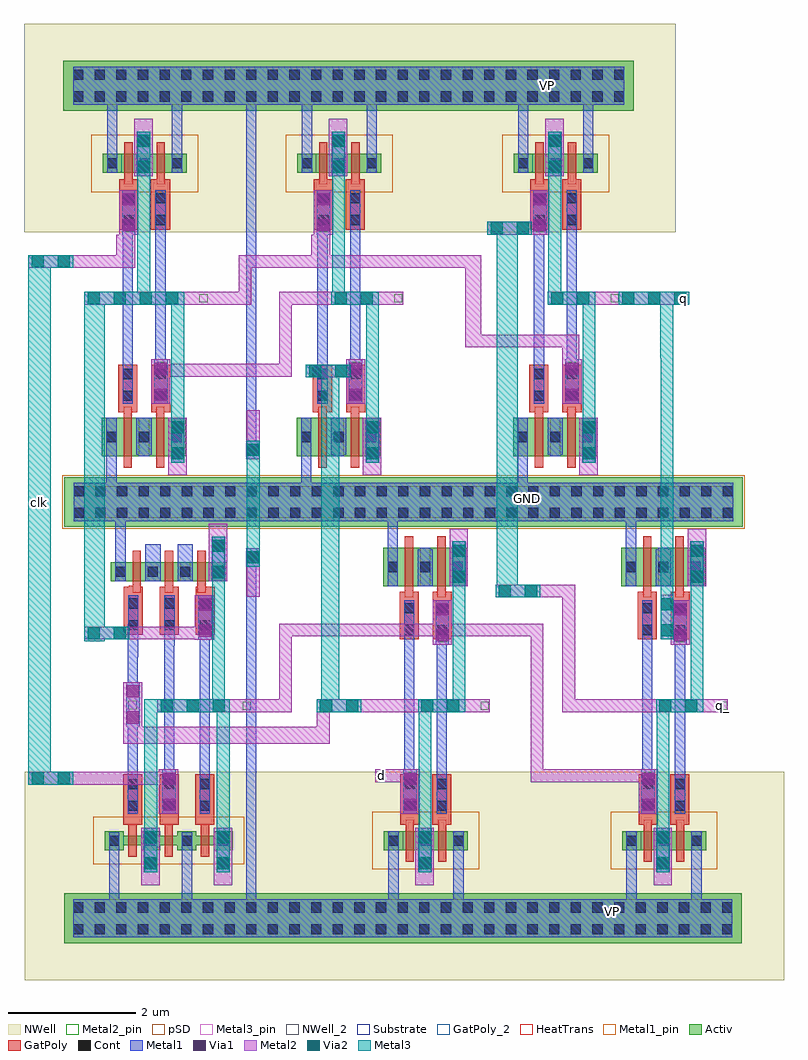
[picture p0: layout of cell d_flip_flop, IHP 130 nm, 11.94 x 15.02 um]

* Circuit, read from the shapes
.subckt d_flip_flop GND VP clk d q q_
XM1 n1 clk GND GND sg13_lv_nmos w=0.6u l=0.13u
XM2 n2 NAND_2in_x2_1/a GND GND sg13_lv_nmos w=0.3u l=0.13u
XM3 NAND_2in_x2_17/a NAND_2in_x2_2/a n1 GND sg13_lv_nmos w=0.6u l=0.13u
XM4 n3 clk n2 GND sg13_lv_nmos w=0.3u l=0.13u
XM5 NAND_2in_x2_18/a NAND_2in_x2_17/a n3 GND sg13_lv_nmos w=0.3u l=0.13u
XM6 n4 NAND_2in_x2_17/a GND GND sg13_lv_nmos w=0.6u l=0.13u
XM7 NAND_2in_x2_2/a NAND_2in_x2_1/a n4 GND sg13_lv_nmos w=0.6u l=0.13u
XM8 n5 d GND GND sg13_lv_nmos w=0.6u l=0.13u
XM9 NAND_2in_x2_1/a NAND_2in_x2_18/a n5 GND sg13_lv_nmos w=0.6u l=0.13u
XM10 n6 q_ GND GND sg13_lv_nmos w=0.6u l=0.13u
XM11 q NAND_2in_x2_17/a n6 GND sg13_lv_nmos w=0.6u l=0.13u
XM12 n7 NAND_2in_x2_18/a GND GND sg13_lv_nmos w=0.6u l=0.13u
XM13 q_ q n7 GND sg13_lv_nmos w=0.6u l=0.13u
XM14 NAND_2in_x2_17/a clk VP VP sg13_lv_pmos w=0.3u l=0.13u
XM15 NAND_2in_x2_18/a NAND_2in_x2_1/a VP VP sg13_lv_pmos w=0.15u l=0.13u
XM16 VP NAND_2in_x2_2/a NAND_2in_x2_17/a VP sg13_lv_pmos w=0.3u l=0.13u
XM17 VP clk NAND_2in_x2_18/a VP sg13_lv_pmos w=0.15u l=0.13u
XM18 NAND_2in_x2_18/a NAND_2in_x2_17/a VP VP sg13_lv_pmos w=0.15u l=0.13u
XM19 NAND_2in_x2_2/a NAND_2in_x2_17/a VP VP sg13_lv_pmos w=0.3u l=0.13u
XM20 VP NAND_2in_x2_1/a NAND_2in_x2_2/a VP sg13_lv_pmos w=0.3u l=0.13u
XM21 NAND_2in_x2_1/a d VP VP sg13_lv_pmos w=0.3u l=0.13u
XM22 VP NAND_2in_x2_18/a NAND_2in_x2_1/a VP sg13_lv_pmos w=0.3u l=0.13u
XM23 q q_ VP VP sg13_lv_pmos w=0.3u l=0.13u
XM24 VP NAND_2in_x2_17/a q VP sg13_lv_pmos w=0.3u l=0.13u
XM25 q_ NAND_2in_x2_18/a VP VP sg13_lv_pmos w=0.3u l=0.13u
XM26 VP q q_ VP sg13_lv_pmos w=0.3u l=0.13u
.ends

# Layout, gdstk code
from math import pi, radians
import gdstk
lib = gdstk.Library(unit=1e-6, precision=1e-09)
def R(c, l, rs):  # rectangles x0, y0, x1, y1
    for r in rs: c.add(gdstk.rectangle(r[:2], r[2:], *l))
def A(c, l, x, y, w, h, nx, ny, dx, dy):  # array of equal rectangles
    R(c, l, [(x+i*dx, y+j*dy, x+i*dx+w, y+j*dy+h) for i in range(nx) for j in range(ny)])
Activ = (1, 0)
GatPoly = (5, 0)
GatPoly_2 = (5, 2)
Cont = (6, 0)
Metal1 = (8, 0)
Metal1_pin = (8, 2)
Metal2 = (10, 0)
Metal2_pin = (10, 2)
pSD = (14, 0)
Via1 = (19, 0)
Via2 = (29, 0)
Metal3 = (30, 0)
Metal3_pin = (30, 2)
NWell = (31, 0)
NWell_2 = (31, 2)
Substrate = (40, 0)
HeatTrans = (51, 0)

via_16_1 = lib.new_cell('Via$16$1')
R(via_16_1, Metal1, [(-0.105,-0.35,0.105,0.35)])
R(via_16_1, Metal2, [(-0.1,-0.35,0.1,0.35)])
R(via_16_1, Via1, [(-0.095,-0.3,0.095,-0.11), (-0.095,0.11,0.095,0.3)])

via_1_2 = lib.new_cell('Via$1$2')
R(via_1_2, Metal2, [(-0.1,-0.555,0.1,0.555)])
A(via_1_2, Via2, -0.095, -0.505, 0.19, 0.19, 1, 3, 0, 0.41)
R(via_1_2, Metal3, [(-0.1,-0.555,0.1,0.555)])

nmos_4 = lib.new_cell('nmos$4')
A(nmos_4, Activ, 0, 0, 0.3, 0.3, 4, 1, 0.51, 0)
R(nmos_4, Activ, [(0,0,1.83,0.3)])
A(nmos_4, GatPoly, 0.34, -0.18, 0.13, 0.66, 3, 1, 0.51, 0)
R(nmos_4, GatPoly_2, [(0.34,-0.18,0.47,0.48)])
A(nmos_4, Cont, 0.07, 0.07, 0.16, 0.16, 4, 1, 0.51, 0)
A(nmos_4, Metal1, 0.07, 0, 0.16, 0.3, 4, 1, 0.51, 0)
R(nmos_4, Metal1_pin, [(0.07,0,0.23,0.3), (0.58,0,0.74,0.3)])
A(nmos_4, HeatTrans, 0.34, -0.18, 0.13, 0.66, 3, 1, 0.51, 0)
nmos_4.add(gdstk.Label('nmos', (0.405,0.15), layer=63, texttype=0))
nmos_4.add(gdstk.Label('nmos', (0.405,0.15), layer=51, texttype=0))
nmos_4.add(gdstk.Label('nmos', (0.915,0.15), layer=51, texttype=0))
nmos_4.add(gdstk.Label('nmos', (1.425,0.15), layer=51, texttype=0))

ntap1_8 = lib.new_cell('ntap1$8')
R(ntap1_8, Activ, [(0,0,3.5,0.78)])
A(ntap1_8, Cont, 0.14, 0.14, 0.16, 0.16, 10, 2, 0.34, 0.34)
R(ntap1_8, Metal1, [(0.14,0.09,3.36,0.69)])
R(ntap1_8, Metal1_pin, [(0.14,0.09,3.36,0.69), (0.14,0.14,3.36,0.64)])
R(ntap1_8, NWell, [(-0.24,-0.24,3.74,1.02), (0,0,3.5,0.78)])
R(ntap1_8, NWell_2, [(0,0,3.5,0.78)])
ntap1_8.add(gdstk.Label('well', (1.75,0.01), layer=63, texttype=0))
ntap1_8.add(gdstk.Label('well', (1.75,0.01), layer=31, texttype=0))

ptap1_17 = lib.new_cell('ptap1$17')
R(ptap1_17, Activ, [(0,0,3.5,0.78)])
A(ptap1_17, Cont, 0.14, 0.14, 0.16, 0.16, 10, 2, 0.34, 0.34)
R(ptap1_17, Metal1, [(0.14,0.09,3.36,0.69), (0.14,0.14,3.36,0.64)])
R(ptap1_17, Metal1_pin, [(0.14,0.14,3.36,0.64)])
R(ptap1_17, pSD, [(-0.03,-0.03,3.53,0.81)])
R(ptap1_17, Substrate, [(0,0,3.5,0.78)])
ptap1_17.add(gdstk.Label('sub!', (1.75,0.01), layer=63, texttype=0))
ptap1_17.add(gdstk.Label('sub!', (1.75,0.01), layer=40, texttype=0))

via_2_2 = lib.new_cell('Via$2$2')
R(via_2_2, Metal2, [(-0.1,-0.35,0.1,0.35)])
R(via_2_2, Via2, [(-0.095,-0.3,0.095,-0.11), (-0.095,0.11,0.095,0.3)])
R(via_2_2, Metal3, [(-0.1,-0.35,0.1,0.35)])

via_3_1 = lib.new_cell('Via$3$1')
R(via_3_1, GatPoly, [(-0.32,-0.15,0.32,0.15)])
R(via_3_1, Cont, [(-0.25,-0.08,-0.09,0.08), (0.09,-0.08,0.25,0.08)])
R(via_3_1, Metal1, [(-0.3,-0.08,0.3,0.08)])

pmos_4 = lib.new_cell('pmos$4')
A(pmos_4, Activ, 0, 0, 0.3, 0.3, 4, 1, 0.57, 0)
R(pmos_4, Activ, [(0,0.075,2.01,0.225)])
A(pmos_4, GatPoly, 0.37, -0.105, 0.13, 0.51, 3, 1, 0.57, 0)
R(pmos_4, GatPoly, [(0.37,-0.105,0.5,0.405)])
A(pmos_4, Cont, 0.07, 0.07, 0.16, 0.16, 4, 1, 0.57, 0)
A(pmos_4, Metal1, 0.64, 0.02, 0.16, 0.26, 3, 1, 0.57, 0)
R(pmos_4, Metal1, [(0.07,0.02,0.23,0.28), (0.07,0.02,0.23,0.28), (0.64,0.02,0.8,0.28)])
R(pmos_4, pSD, [(-0.18,-0.225,2.19,0.525)])
R(pmos_4, NWell, [(-0.31,-0.31,2.32,0.61)])
R(pmos_4, Substrate, [(1.71,0,2.01,0.3)])
A(pmos_4, HeatTrans, 0.37, -0.105, 0.13, 0.51, 3, 1, 0.57, 0)
pmos_4.add(gdstk.Label('pmos', (0.435,0.15), layer=63, texttype=0))
pmos_4.add(gdstk.Label('pmos', (0.435,0.15), layer=51, texttype=0))
pmos_4.add(gdstk.Label('pmos', (1.005,0.15), layer=51, texttype=0))
pmos_4.add(gdstk.Label('pmos', (1.575,0.15), layer=51, texttype=0))

nand_3in = lib.new_cell('NAND_3in')
R(nand_3in, GatPoly, [(0.115,-3.025,0.245,-2.915), (0.685,-3.025,0.815,-2.915), (0.035,-3.005,0.335,-2.895), (0.605,-3.005,0.905,-2.895), (1.165,-3.005,1.465,-2.895), (0.03,0.58,0.33,0.73), (0.6,0.58,0.9,0.73), (1.16,0.58,1.46,0.73), (0.68,0.68,0.81,0.77), (1.25,0.68,1.38,0.77)])
R(nand_3in, Metal1, [(-0.095,-4.15,0.065,-3.37), (0.375,-3.675,0.615,-3.415), (0.885,-3.675,1.125,-3.415), (0.375,-3.435,0.615,-3.095), (0.885,-3.435,1.125,-3.095), (0.67,-2.44,0.835,-2.09), (0.1,-2.42,0.265,-1.91), (0.67,-2.21,0.83,-1.27), (1.23,-2.21,1.39,-1.27), (0.1,-1.91,0.26,-0.56), (0.67,-1.31,0.83,-0.37), (1.23,-1.31,1.39,-0.37), (0.1,-0.62,0.26,-0.04), (1.23,-0.53,1.39,0), (0.67,-0.37,0.83,-0.11), (0.95,1,1.11,1.2), (-0.19,1.01,-0.03,1.15), (-0.19,1.115,-0.03,1.99), (0.95,1.115,1.11,1.94)])
R(nand_3in, Metal1_pin, [(0.44,-4.405,0.57,-4.275), (0.74,2.15,0.87,2.28)])
R(nand_3in, Metal2, [(1.375,-3.995,1.665,-3.795), (1.375,-3.795,1.665,-3.095), (1.155,-2.875,1.455,-2.175), (0.03,-1.51,0.33,-0.81), (1.62,-1.24,2.05,-1.04), (0.59,-0.14,0.89,0.56), (0.31,0.78,0.6,0.98), (1.45,0.78,1.74,0.98), (0.31,0.98,0.6,1.68), (1.45,0.98,1.74,1.68)])
R(nand_3in, Metal2_pin, [(1.255,-2.385,1.385,-2.255), (0.11,-1.215,0.24,-1.085), (1.905,-1.205,2.035,-1.075), (0.69,-0.07,0.82,0.06)])
R(nand_3in, Metal3, [(1.425,-3.105,1.625,-2.905), (1.425,-2.905,1.625,-2.5), (1.425,-2.5,1.625,-1.15), (0.36,-1.24,0.56,-0.97), (0.38,-1.24,0.565,-1.04), (1.66,-1.24,1.7,-1.09), (1.5,-1.09,1.7,0.17), (0.36,-0.97,0.56,0.26), (1.5,-0.03,1.7,0.62), (0.36,0.08,0.56,0.78), (1.5,0.62,1.7,0.72), (1.5,0.71,1.7,0.87)])
R(nand_3in, NWell, [(-1.52,-0.1,-0.85,3.17), (-0.85,-0.1,2.93,3.17)])
nand_3in.add(gdstk.Reference(via_16_1, (1.525,-3.445), rotation=pi))
nand_3in.add(gdstk.Reference(via_16_1, (1.315,-2.525), rotation=pi))
nand_3in.add(gdstk.Reference(via_16_1, (0.18,-1.16), rotation=pi))
nand_3in.add(gdstk.Reference(via_16_1, (0.75,0.21), rotation=pi))
nand_3in.add(gdstk.Reference(via_16_1, (0.46,1.13), rotation=pi))
nand_3in.add(gdstk.Reference(via_16_1, (1.6,1.13), rotation=pi))
nand_3in.add(gdstk.Reference(via_1_2, (1.12,-1.14), rotation=3*pi/2))
nand_3in.add(gdstk.Reference(nmos_4, (1.665,-3.095), rotation=pi))
nand_3in.add(gdstk.Reference(ntap1_8, (-0.9,1.81)))
nand_3in.add(gdstk.Reference(ptap1_17, (-0.89,-4.73)))
nand_3in.add(gdstk.Reference(via_2_2, (1.525,-3.445), rotation=pi))
nand_3in.add(gdstk.Reference(via_2_2, (0.46,1.13), rotation=pi))
nand_3in.add(gdstk.Reference(via_2_2, (1.6,1.13), rotation=pi))
nand_3in.add(gdstk.Reference(via_3_1, (0.185,-2.575), rotation=3*pi/2))
nand_3in.add(gdstk.Reference(via_3_1, (0.755,-2.575), rotation=3*pi/2))
nand_3in.add(gdstk.Reference(via_3_1, (1.315,-2.575), rotation=3*pi/2))
nand_3in.add(gdstk.Reference(via_3_1, (0.18,0.26), rotation=3*pi/2))
nand_3in.add(gdstk.Reference(via_3_1, (0.75,0.26), rotation=3*pi/2))
nand_3in.add(gdstk.Reference(via_3_1, (1.31,0.26), rotation=3*pi/2))
nand_3in.add(gdstk.Reference(pmos_4, (1.75,1.13), rotation=pi))
nand_3in.add(gdstk.Label('VP', (0.8,2.21), layer=8, texttype=25))
nand_3in.add(gdstk.Label('GND', (0.505,-4.335), layer=8, texttype=25))
nand_3in.add(gdstk.Label('y', (1.97,-1.14), layer=10, texttype=25))
nand_3in.add(gdstk.Label('b', (0.76,0.02), layer=10, texttype=25))
nand_3in.add(gdstk.Label('c', (0.17,-1.15), layer=10, texttype=25))
nand_3in.add(gdstk.Label('a', (1.315,-2.325), layer=10, texttype=25))

ntap1_7 = lib.new_cell('ntap1$7')
R(ntap1_7, Activ, [(0,0,2.5,0.78)])
A(ntap1_7, Cont, 0.15, 0.14, 0.16, 0.16, 7, 2, 0.34, 0.34)
R(ntap1_7, Metal1, [(0.15,0.09,2.35,0.69)])
R(ntap1_7, Metal1_pin, [(0.15,0.09,2.35,0.69), (0.15,0.14,2.35,0.64)])
R(ntap1_7, NWell, [(-0.24,-0.24,2.74,1.02), (0,0,2.5,0.78)])
R(ntap1_7, NWell_2, [(0,0,2.5,0.78)])
ntap1_7.add(gdstk.Label('well', (1.25,0.01), layer=63, texttype=0))
ntap1_7.add(gdstk.Label('well', (1.25,0.01), layer=31, texttype=0))

ptap1_4 = lib.new_cell('ptap1$4')
R(ptap1_4, Activ, [(0,0,2.5,0.78)])
A(ptap1_4, Cont, 0.15, 0.14, 0.16, 0.16, 7, 2, 0.34, 0.34)
R(ptap1_4, Metal1, [(0.15,0.09,2.35,0.69), (0.15,0.14,2.35,0.64)])
R(ptap1_4, Metal1_pin, [(0.15,0.14,2.35,0.64)])
R(ptap1_4, pSD, [(-0.03,-0.03,2.53,0.81)])
R(ptap1_4, Substrate, [(0,0,2.5,0.78)])
ptap1_4.add(gdstk.Label('sub!', (1.25,0.01), layer=63, texttype=0))
ptap1_4.add(gdstk.Label('sub!', (1.25,0.01), layer=40, texttype=0))

via_15_1 = lib.new_cell('Via$15$1')
R(via_15_1, Metal2, [(-0.1,-0.35,0.1,0.35)])
R(via_15_1, Via2, [(-0.095,-0.3,0.095,-0.11), (-0.095,0.11,0.095,0.3)])
R(via_15_1, Metal3, [(-0.1,-0.35,0.1,0.35)])

via_1_1 = lib.new_cell('Via$1$1')
R(via_1_1, Metal1, [(-0.105,-0.35,0.105,0.35)])
R(via_1_1, Metal2, [(-0.1,-0.35,0.1,0.35)])
R(via_1_1, Via1, [(-0.095,-0.3,0.095,-0.11), (-0.095,0.11,0.095,0.3)])

via_2_1 = lib.new_cell('Via$2$1')
R(via_2_1, GatPoly, [(-0.32,-0.15,0.32,0.15)])
R(via_2_1, Cont, [(-0.25,-0.08,-0.09,0.08), (0.09,-0.08,0.25,0.08)])
R(via_2_1, Metal1, [(-0.3,-0.08,0.3,0.08)])

pmos_2_1 = lib.new_cell('pmos$2$1')
A(pmos_2_1, Activ, 0, 0, 0.3, 0.3, 3, 1, 0.51, 0)
R(pmos_2_1, Activ, [(0,0,1.32,0.3)])
R(pmos_2_1, GatPoly, [(0.34,-0.18,0.47,0.48), (0.34,-0.18,0.47,0.48), (0.85,-0.18,0.98,0.48)])
A(pmos_2_1, Cont, 0.07, 0.07, 0.16, 0.16, 3, 1, 0.51, 0)
R(pmos_2_1, Metal1, [(0.07,0,0.23,0.3), (0.07,0,0.23,0.3), (0.58,0,0.74,0.3), (0.58,0,0.74,0.3), (1.09,0,1.25,0.3)])
R(pmos_2_1, pSD, [(-0.18,-0.3,1.5,0.6)])
R(pmos_2_1, NWell, [(-0.31,-0.31,1.63,0.61)])
R(pmos_2_1, Substrate, [(1.02,0,1.32,0.3)])
R(pmos_2_1, HeatTrans, [(0.34,-0.18,0.47,0.48), (0.85,-0.18,0.98,0.48)])
pmos_2_1.add(gdstk.Label('pmos', (0.405,0.15), layer=63, texttype=0))
pmos_2_1.add(gdstk.Label('pmos', (0.405,0.15), layer=51, texttype=0))
pmos_2_1.add(gdstk.Label('pmos', (0.915,0.15), layer=51, texttype=0))

nmos_2_1 = lib.new_cell('nmos$2$1')
A(nmos_2_1, Activ, 0, 0, 0.3, 0.3, 3, 1, 0.51, 0)
R(nmos_2_1, Activ, [(0,0,1.32,0.6)])
R(nmos_2_1, GatPoly, [(0.34,-0.18,0.47,0.78), (0.85,-0.18,0.98,0.78)])
R(nmos_2_1, GatPoly_2, [(0.34,-0.18,0.47,0.78)])
A(nmos_2_1, Cont, 0.07, 0.22, 0.16, 0.16, 3, 1, 0.51, 0)
A(nmos_2_1, Metal1, 0.07, 0, 0.16, 0.6, 3, 1, 0.51, 0)
R(nmos_2_1, Metal1_pin, [(0.07,0,0.23,0.6), (0.58,0,0.74,0.6)])
R(nmos_2_1, HeatTrans, [(0.34,-0.18,0.47,0.78), (0.85,-0.18,0.98,0.78)])
nmos_2_1.add(gdstk.Label('nmos', (0.405,0.3), layer=63, texttype=0))
nmos_2_1.add(gdstk.Label('nmos', (0.405,0.3), layer=51, texttype=0))
nmos_2_1.add(gdstk.Label('nmos', (0.915,0.3), layer=51, texttype=0))

nand_2in_x2 = lib.new_cell('NAND_2in_x2')
R(nand_2in_x2, GatPoly, [(0.63,-2.93,0.93,-2.82), (1.15,-2.93,1.45,-2.82), (0.645,0.58,0.945,0.73), (1.145,0.58,1.445,0.73), (0.725,0.68,0.855,0.77)])
R(nand_2in_x2, Metal1, [(0.445,-4.32,0.605,-3.295), (0.915,-3.6,1.155,-3.34), (0.915,-3.36,1.155,-3.02), (0.7,-2.68,0.86,0.26), (1.215,-2.21,1.375,-1.27), (1.215,-1.31,1.375,-0.37), (1.215,-0.37,1.375,-0.01), (0.455,1.01,0.615,1.15), (0.455,1.115,0.615,1.99), (1.475,1.115,1.635,1.94)])
R(nand_2in_x2, Metal1_pin, [(0.44,-4.32,0.57,-4.19), (0.4,2.15,0.53,2.28)])
R(nand_2in_x2, Metal2, [(1.415,-3.92,1.705,-3.72), (1.415,-3.72,1.705,-3.02), (1.15,-2.8,1.45,-2.1), (1.62,-1.24,2.05,-1.04), (0.645,-0.14,0.945,0.56), (0.88,0.78,1.17,0.98), (0.88,0.98,1.17,1.68)])
R(nand_2in_x2, Metal2_pin, [(1.24,-2.27,1.37,-2.14), (1.905,-1.205,2.035,-1.075), (0.735,-0.1,0.865,0.03)])
R(nand_2in_x2, Metal3, [(1.465,-3.03,1.665,-2.83), (1.465,-2.905,1.665,-1.045), (0.93,-1.09,1.13,0.17), (0.93,0.1,1.13,0.62), (0.93,0.62,1.13,0.72), (0.93,0.71,1.13,0.87)])
R(nand_2in_x2, NWell, [(-0.85,-0.1,2.93,3.17)])
nand_2in_x2.add(gdstk.Reference(ntap1_7, (-0.23,1.81)))
nand_2in_x2.add(gdstk.Reference(ptap1_4, (-0.22,-4.73)))
nand_2in_x2.add(gdstk.Reference(via_15_1, (1.27,-1.14), rotation=3*pi/2))
nand_2in_x2.add(gdstk.Reference(via_1_1, (1.565,-3.37), rotation=pi))
nand_2in_x2.add(gdstk.Reference(via_1_1, (1.3,-2.45), rotation=pi))
nand_2in_x2.add(gdstk.Reference(via_1_1, (0.795,0.21), rotation=pi))
nand_2in_x2.add(gdstk.Reference(via_1_1, (1.03,1.13), rotation=pi))
nand_2in_x2.add(gdstk.Reference(via_2_1, (1.3,-2.5), rotation=3*pi/2))
nand_2in_x2.add(gdstk.Reference(via_2_1, (0.795,0.26), rotation=3*pi/2))
nand_2in_x2.add(gdstk.Reference(via_2_1, (1.295,0.26), rotation=3*pi/2))
nand_2in_x2.add(gdstk.Reference(via_15_1, (1.565,-3.37), rotation=pi))
nand_2in_x2.add(gdstk.Reference(via_15_1, (1.03,1.13), rotation=pi))
nand_2in_x2.add(gdstk.Reference(pmos_2_1, (1.705,1.13), rotation=pi))
nand_2in_x2.add(gdstk.Reference(via_2_1, (0.78,-2.5), rotation=3*pi/2))
nand_2in_x2.add(gdstk.Reference(nmos_2_1, (1.695,-3.02), rotation=pi))
nand_2in_x2.add(gdstk.Label('GND', (0.505,-4.25), layer=8, texttype=25))
nand_2in_x2.add(gdstk.Label('VP', (0.46,2.21), layer=8, texttype=25))
nand_2in_x2.add(gdstk.Label('b', (0.795,-0.04), layer=10, texttype=25))
nand_2in_x2.add(gdstk.Label('a', (1.3,-2.21), layer=10, texttype=25))
nand_2in_x2.add(gdstk.Label('y', (1.97,-1.14), layer=10, texttype=25))

ntap1_3_1 = lib.new_cell('ntap1$3$1')
R(ntap1_3_1, Activ, [(0,0,1.8,0.78)])
A(ntap1_3_1, Cont, 0.14, 0.14, 0.16, 0.16, 5, 2, 0.34, 0.34)
R(ntap1_3_1, Metal1, [(0.14,0.09,1.66,0.69)])
R(ntap1_3_1, Metal1_pin, [(0.14,0.09,1.66,0.69), (0.14,0.14,1.66,0.64)])
R(ntap1_3_1, NWell, [(-0.24,-0.24,2.04,1.02), (0,0,1.8,0.78)])
R(ntap1_3_1, NWell_2, [(0,0,1.8,0.78)])
ntap1_3_1.add(gdstk.Label('well', (0.9,0.01), layer=63, texttype=0))
ntap1_3_1.add(gdstk.Label('well', (0.9,0.01), layer=31, texttype=0))

via_21 = lib.new_cell('Via$21')
R(via_21, Metal2, [(-0.35,-0.1,0.35,0.1)])
R(via_21, Via2, [(-0.3,-0.095,-0.11,0.095), (0.11,-0.095,0.3,0.095)])
R(via_21, Metal3, [(-0.35,-0.1,0.35,0.1)])

via_12_1 = lib.new_cell('Via$12$1')
R(via_12_1, Metal2, [(-0.555,-0.1,0.555,0.1)])
A(via_12_1, Via2, -0.505, -0.095, 0.19, 0.19, 3, 1, 0.41, 0)
R(via_12_1, Metal3, [(-0.555,-0.1,0.555,0.1)])

via_8_1 = lib.new_cell('Via$8$1')
R(via_8_1, Metal2, [(-0.1,-0.35,0.1,0.35)])
R(via_8_1, Via2, [(-0.095,-0.3,0.095,-0.11), (-0.095,0.11,0.095,0.3)])
R(via_8_1, Metal3, [(-0.1,-0.35,0.1,0.35)])

via_13_1 = lib.new_cell('Via$13$1')
R(via_13_1, Metal2, [(-0.76,-0.1,0.76,0.1)])
A(via_13_1, Via2, -0.71, -0.095, 0.19, 0.19, 4, 1, 0.41, 0)
R(via_13_1, Metal3, [(-0.76,-0.1,0.76,0.1)])

ntap1_9 = lib.new_cell('ntap1$9')
R(ntap1_9, Activ, [(0,0,2.1,0.78)])
A(ntap1_9, Cont, 0.12, 0.14, 0.16, 0.16, 6, 2, 0.34, 0.34)
R(ntap1_9, Metal1, [(0.12,0.09,1.98,0.69)])
R(ntap1_9, Metal1_pin, [(0.12,0.09,1.98,0.69), (0.12,0.14,1.98,0.64)])
R(ntap1_9, NWell, [(-0.24,-0.24,2.34,1.02), (0,0,2.1,0.78)])
R(ntap1_9, NWell_2, [(0,0,2.1,0.78)])
ntap1_9.add(gdstk.Label('well', (1.05,0.01), layer=63, texttype=0))
ntap1_9.add(gdstk.Label('well', (1.05,0.01), layer=31, texttype=0))

via_17 = lib.new_cell('Via$17')
R(via_17, Metal1, [(-0.145,-0.105,0.145,0.105)])
R(via_17, Metal2, [(-0.145,-0.1,0.145,0.1)])
R(via_17, Via1, [(-0.095,-0.095,0.095,0.095)])

via_19_1 = lib.new_cell('Via$19$1')
R(via_19_1, Metal2, [(-0.145,-0.1,0.145,0.1)])
R(via_19_1, Via2, [(-0.095,-0.095,0.095,0.095)])
R(via_19_1, Metal3, [(-0.145,-0.1,0.145,0.1)])

d_flip_flop = lib.new_cell('d_flip_flop')
R(d_flip_flop, Metal1, [(3.27,-5.01,3.43,0.76), (3.27,2.17,3.43,7.94)])
R(d_flip_flop, Metal1_pin, [(8.955,-5.005,9.085,-4.875), (7.625,1.475,7.755,1.605), (7.945,7.965,8.075,8.095)])
R(d_flip_flop, Metal2, [(-0.15,-2.95,1.29,-2.75), (1.29,-2.95,1.96,-2.75), (5.3,-2.91,5.88,-2.71), (7.74,-2.91,9.52,-2.71), (7.74,-2.81,7.94,-2.31), (1.34,-2.31,1.6,-2.04), (1.36,-2.31,4.58,-2.04), (7.74,-2.31,7.94,-1.39), (4.38,-2.13,4.585,-1.73), (3.36,-1.81,3.94,-1.61), (3.79,-1.81,3.99,-1.39), (4.38,-1.81,4.67,-1.61), (4.67,-1.81,6.02,-1.61), (8.24,-1.81,8.44,-0.89), (8.27,-1.81,9.71,-1.61), (3.79,-1.39,3.99,-0.43), (7.74,-1.39,7.94,-0.49), (8.24,-0.89,8.44,0.19), (1.38,-0.67,2.58,-0.47), (3.79,-0.62,4.07,-0.42), (4.07,-0.62,4.65,-0.42), (4.65,-0.62,6.26,-0.42), (6.16,-0.62,7.94,-0.42), (7.69,-0.01,8.27,0.19), (3.28,0,3.48,0.765), (3.28,2.165,3.48,2.93), (1.79,3.46,3.17,3.66), (3.17,3.46,3.99,3.66), (3.79,3.53,3.99,4.17), (8.24,3.655,8.505,4.12), (6.71,3.92,6.96,5.17), (6.71,3.92,7.72,4.12), (7.72,3.92,8.47,4.12), (3.79,4.17,3.99,4.59), (2.465,4.59,3.35,4.79), (3.79,4.59,4.61,4.79), (9.14,4.59,10.17,4.79), (3.15,4.79,3.35,5.21), (0.13,5.17,0.61,5.37), (0.61,5.17,1.48,5.37), (1.23,5.17,1.53,5.19), (3.15,5.17,3.67,5.37), (3.67,5.17,4.54,5.37), (4.22,5.17,6.21,5.37), (6.21,5.17,6.96,5.37), (1.23,5.19,1.53,5.69), (4.29,5.29,4.59,5.69)])
R(d_flip_flop, Metal2_pin, [(5.325,-2.88,5.455,-2.75), (10.695,-1.775,10.825,-1.645), (10.075,4.625,10.205,4.755)])
R(d_flip_flop, Metal3, [(-0.15,-2.85,0.2,-2.45), (-0.15,-2.45,0.2,4.28), (4.45,-1.81,4.73,2.56), (0.73,-0.7,1.05,3.6), (9.78,-0.47,9.98,3.76), (7.205,0.09,7.54,4.77), (3.28,0.475,3.48,2.455), (4.45,2.56,4.73,3.49), (0.73,3.6,1.05,4.69), (9.775,3.76,9.98,4.69), (-0.15,4.28,0.2,5.23), (7.205,4.77,7.54,5.76)])
R(d_flip_flop, Metal3_pin, [(-0.045,1.42,0.085,1.55)])
d_flip_flop.add(gdstk.Reference(nand_3in, (1.31,-2.85), x_reflection=True))
d_flip_flop.add(gdstk.Reference(nand_2in_x2, (3.69,5.83)))
d_flip_flop.add(gdstk.Reference(nand_2in_x2, (0.63,5.83)))
d_flip_flop.add(gdstk.Reference(ntap1_3_1, (2.45,7.64)))
d_flip_flop.add(gdstk.Reference(ntap1_3_1, (5.51,7.64)))
d_flip_flop.add(gdstk.Reference(via_21, (0.2,-2.85), rotation=pi))
d_flip_flop.add(gdstk.Reference(via_21, (0.2,5.27), rotation=pi))
d_flip_flop.add(gdstk.Reference(via_12_1, (9.68,4.69), rotation=pi))
d_flip_flop.add(gdstk.Reference(via_8_1, (9.88,-0.32), rotation=pi))
d_flip_flop.add(gdstk.Reference(via_21, (1.08,-0.57), rotation=pi))
d_flip_flop.add(gdstk.Reference(via_13_1, (1.49,4.69), rotation=pi))
d_flip_flop.add(gdstk.Reference(via_21, (7.54,0.09), rotation=pi))
d_flip_flop.add(gdstk.Reference(via_21, (7.41,5.79), rotation=pi))
d_flip_flop.add(gdstk.Reference(via_21, (4.73,-1.71), rotation=pi))
d_flip_flop.add(gdstk.Reference(via_21, (4.56,3.55), rotation=pi))
d_flip_flop.add(gdstk.Reference(ntap1_3_1, (3.47,-5.44)))
d_flip_flop.add(gdstk.Reference(ntap1_9, (6.89,-5.44)))
d_flip_flop.add(gdstk.Reference(nand_2in_x2, (7.09,5.83)))
d_flip_flop.add(gdstk.Reference(nand_2in_x2, (5.05,-2.85), x_reflection=True))
d_flip_flop.add(gdstk.Reference(nand_2in_x2, (8.79,-2.85), x_reflection=True))
d_flip_flop.add(gdstk.Reference(via_17, (3.38,0.62), rotation=pi/2))
d_flip_flop.add(gdstk.Reference(via_17, (3.38,2.31), rotation=pi/2))
d_flip_flop.add(gdstk.Reference(via_19_1, (3.38,2.31), rotation=pi/2))
d_flip_flop.add(gdstk.Reference(via_19_1, (3.38,0.62), rotation=pi/2))
d_flip_flop.add(gdstk.Label('GND', (7.69,1.54), layer=8, texttype=25))
d_flip_flop.add(gdstk.Label('VP', (9.02,-4.94), layer=8, texttype=25))
d_flip_flop.add(gdstk.Label('VP', (8.01,8.03), layer=8, texttype=25))
d_flip_flop.add(gdstk.Label('q', (10.14,4.69), layer=10, texttype=25))
d_flip_flop.add(gdstk.Label('d', (5.39,-2.81), layer=10, texttype=25))
d_flip_flop.add(gdstk.Label('q_', (10.76,-1.71), layer=10, texttype=25))
d_flip_flop.add(gdstk.Label('clk', (0.02,1.48), layer=30, texttype=25))

lib.write_gds('d_flip_flop.gds')
